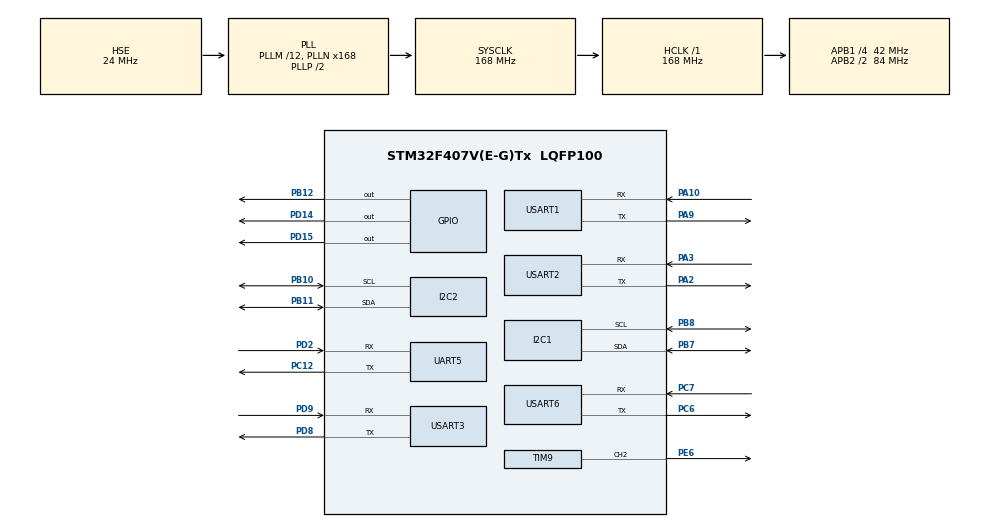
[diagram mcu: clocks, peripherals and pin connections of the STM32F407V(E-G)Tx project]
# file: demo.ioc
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Dma.MEMTOMEM.2.Direction=DMA_MEMORY_TO_MEMORY
Dma.MEMTOMEM.2.FIFOMode=DMA_FIFOMODE_ENABLE
Dma.MEMTOMEM.2.FIFOThreshold=DMA_FIFO_THRESHOLD_FULL
Dma.MEMTOMEM.2.Instance=DMA2_Stream1
Dma.MEMTOMEM.2.MemBurst=DMA_MBURST_SINGLE
Dma.MEMTOMEM.2.MemDataAlignment=DMA_MDATAALIGN_BYTE
Dma.MEMTOMEM.2.MemInc=DMA_MINC_ENABLE
Dma.MEMTOMEM.2.Mode=DMA_NORMAL
Dma.MEMTOMEM.2.PeriphBurst=DMA_PBURST_SINGLE
Dma.MEMTOMEM.2.PeriphDataAlignment=DMA_PDATAALIGN_BYTE
Dma.MEMTOMEM.2.PeriphInc=DMA_PINC_ENABLE
Dma.MEMTOMEM.2.Priority=DMA_PRIORITY_LOW
Dma.Request0=USART1_RX
Dma.Request1=USART1_TX
Dma.Request2=MEMTOMEM
Dma.Request3=USART3_TX
Dma.Request4=USART2_TX
Dma.USART1_RX.0.Direction=DMA_PERIPH_TO_MEMORY
Dma.USART1_RX.0.FIFOMode=DMA_FIFOMODE_DISABLE
Dma.USART1_RX.0.Instance=DMA2_Stream2
Dma.USART1_RX.0.MemDataAlignment=DMA_MDATAALIGN_BYTE
Dma.USART1_RX.0.MemInc=DMA_MINC_ENABLE
Dma.USART1_RX.0.Mode=DMA_CIRCULAR
Dma.USART1_RX.0.PeriphDataAlignment=DMA_PDATAALIGN_BYTE
Dma.USART1_RX.0.PeriphInc=DMA_PINC_DISABLE
Dma.USART1_RX.0.Priority=DMA_PRIORITY_HIGH
Dma.USART1_TX.1.Direction=DMA_MEMORY_TO_PERIPH
Dma.USART1_TX.1.FIFOMode=DMA_FIFOMODE_DISABLE
Dma.USART1_TX.1.Instance=DMA2_Stream7
Dma.USART1_TX.1.MemDataAlignment=DMA_MDATAALIGN_BYTE
Dma.USART1_TX.1.MemInc=DMA_MINC_ENABLE
Dma.USART1_TX.1.Mode=DMA_NORMAL
Dma.USART1_TX.1.PeriphDataAlignment=DMA_PDATAALIGN_BYTE
Dma.USART1_TX.1.PeriphInc=DMA_PINC_DISABLE
Dma.USART1_TX.1.Priority=DMA_PRIORITY_VERY_HIGH
Dma.USART2_TX.4.Direction=DMA_MEMORY_TO_PERIPH
Dma.USART2_TX.4.FIFOMode=DMA_FIFOMODE_DISABLE
Dma.USART2_TX.4.Instance=DMA1_Stream6
Dma.USART2_TX.4.MemDataAlignment=DMA_MDATAALIGN_BYTE
Dma.USART2_TX.4.MemInc=DMA_MINC_ENABLE
Dma.USART2_TX.4.Mode=DMA_NORMAL
Dma.USART2_TX.4.PeriphDataAlignment=DMA_PDATAALIGN_BYTE
Dma.USART2_TX.4.PeriphInc=DMA_PINC_DISABLE
Dma.USART2_TX.4.Priority=DMA_PRIORITY_LOW
Dma.USART3_TX.3.Direction=DMA_MEMORY_TO_PERIPH
Dma.USART3_TX.3.FIFOMode=DMA_FIFOMODE_DISABLE
Dma.USART3_TX.3.Instance=DMA1_Stream3
Dma.USART3_TX.3.MemDataAlignment=DMA_MDATAALIGN_BYTE
Dma.USART3_TX.3.MemInc=DMA_MINC_ENABLE
Dma.USART3_TX.3.Mode=DMA_NORMAL
Dma.USART3_TX.3.PeriphDataAlignment=DMA_PDATAALIGN_BYTE
Dma.USART3_TX.3.PeriphInc=DMA_PINC_DISABLE
Dma.USART3_TX.3.Priority=DMA_PRIORITY_LOW
Mcu.Family=STM32F4
Mcu.Name=STM32F407V(E-G)Tx
Mcu.Package=LQFP100
NVIC.DMA1_Stream3_IRQn=true\:0\:0\:false\:false\:true\:false\:true\:true
NVIC.DMA1_Stream6_IRQn=true\:0\:0\:false\:false\:true\:false\:true\:true
NVIC.DMA2_Stream2_IRQn=true\:0\:0\:false\:false\:true\:false\:true\:true
NVIC.DMA2_Stream7_IRQn=true\:0\:0\:false\:false\:true\:false\:true\:true
NVIC.PriorityGroup=NVIC_PRIORITYGROUP_4
NVIC.TIM2_IRQn=true\:1\:0\:true\:false\:true\:true\:true\:true
NVIC.USART1_IRQn=true\:0\:0\:false\:false\:true\:true\:true\:true
NVIC.USART2_IRQn=true\:0\:0\:false\:false\:true\:true\:true\:true
NVIC.USART3_IRQn=true\:0\:0\:false\:false\:true\:true\:true\:true
PA10.Mode=Asynchronous
PA10.Signal=USART1_RX
PA13.Mode=Serial_Wire
PA13.Signal=SYS_JTMS-SWDIO
PA14.Mode=Serial_Wire
PA14.Signal=SYS_JTCK-SWCLK
PA2.Mode=Asynchronous
PA2.Signal=USART2_TX
PA3.Mode=Asynchronous
PA3.Signal=USART2_RX
PA9.Mode=Asynchronous
PA9.Signal=USART1_TX
PB10.Mode=I2C
PB10.Signal=I2C2_SCL
PB11.Mode=I2C
PB11.Signal=I2C2_SDA
PB12.GPIO_ModeDefaultOutputPP=GPIO_MODE_OUTPUT_PP
PB12.GPIO_PuPd=GPIO_NOPULL
PB12.PinState=GPIO_PIN_RESET
PB12.Signal=GPIO_Output
PB7.Mode=I2C
PB7.Signal=I2C1_SDA
PB8.Mode=I2C
PB8.Signal=I2C1_SCL
PC12.Mode=Asynchronous
PC12.Signal=UART5_TX
PC6.Mode=Asynchronous
PC6.Signal=USART6_TX
PC7.Mode=Asynchronous
PC7.Signal=USART6_RX
PD14.GPIO_ModeDefaultOutputPP=GPIO_MODE_OUTPUT_PP
PD14.Signal=GPIO_Output
PD15.PinState=GPIO_PIN_SET
PD15.Signal=GPIO_Output
PD2.Mode=Asynchronous
PD2.Signal=UART5_RX
PD8.Mode=Asynchronous
PD8.Signal=USART3_TX
PD9.Mode=Asynchronous
PD9.Signal=USART3_RX
PE6.Signal=S_TIM9_CH2
PH0-OSC_IN.Mode=HSE-External-Oscillator
PH0-OSC_IN.Signal=RCC_OSC_IN
PH1-OSC_OUT.Mode=HSE-External-Oscillator
PH1-OSC_OUT.Signal=RCC_OSC_OUT
ProjectManager.HeapSize=0x200
ProjectManager.StackSize=0x400
ProjectManager.TargetToolchain=MDK-ARM V5.32
RCC.48MHZClocksFreq_Value=84000000
RCC.AHBFreq_Value=168000000
RCC.APB1CLKDivider=RCC_HCLK_DIV4
RCC.APB1Freq_Value=42000000
RCC.APB1TimFreq_Value=84000000
RCC.APB2CLKDivider=RCC_HCLK_DIV2
RCC.APB2Freq_Value=84000000
RCC.APB2TimFreq_Value=168000000
RCC.CortexFreq_Value=168000000
RCC.HCLKFreq_Value=168000000
RCC.HSE_VALUE=24000000
RCC.HSI_VALUE=16000000
RCC.LSE_VALUE=32768
RCC.PLLM=12
RCC.PLLN=168
RCC.PLLSourceVirtual=RCC_PLLSOURCE_HSE
RCC.SYSCLKFreq_VALUE=168000000
RCC.SYSCLKSource=RCC_SYSCLKSOURCE_PLLCLK
RCC.VCOOutputFreq_Value=336000000
SH.S_TIM9_CH2.0=TIM9_CH2,PWM Generation2 CH2
TIM2.AutoReloadPreload=TIM_AUTORELOAD_PRELOAD_ENABLE
TIM2.Period=1000-1
TIM2.Prescaler=84-1
TIM9.Channel-PWM\ Generation2\ CH2=TIM_CHANNEL_2
TIM9.Period=20000-1
TIM9.Prescaler=168-1
UART5.VirtualMode=Asynchronous
USART1.VirtualMode=VM_ASYNC
USART2.VirtualMode=VM_ASYNC
USART3.VirtualMode=VM_ASYNC
USART6.VirtualMode=VM_ASYNC
VP_TIM2_VS_ClockSourceINT.Mode=Internal
board=custom

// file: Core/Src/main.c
/* USER CODE BEGIN Header */
/**
 ******************************************************************************
 * @file           : main.c
 * @brief          : Main program body
 ******************************************************************************
 * @attention
 *
 * Copyright (c) 2026 STMicroelectronics.
 * All rights reserved.
 *
 * This software is licensed under terms that can be found in the LICENSE file
 * in the root directory of this software component.
 * If no LICENSE file comes with this software, it is provided AS-IS.
 *
 ******************************************************************************
 */
#define USART2_MAX_SEND_LEN 400

/* USER CODE END Header */
#include "main.h"
#include "dma.h"
#include "i2c.h"
#include "tim.h"
#include "usart.h"
#include "gpio.h"

/* USER CODE BEGIN Includes */
#include "Chassis.h"
#include "icm42688.h"
#include "kalman.h"
#include "Emm_V5.h"
#include "Servo_motor.h"
#include "MPU9250.h"
#include "all_init.h"
#include "ZDTstepmotor.h"
#include "control.h"
#include "gray.h"
#include "usart_sent.h"
#include "task.h"
#include <stdio.h>
#include <stdarg.h>
#include <string.h>
#include <stdlib.h>

/* USER CODE END Includes */

/* USER CODE BEGIN PD */
#define TASK1_TRACK_TIME_MS 20000U /* 任务1循迹时长上限 */
#define K210_WAIT_QR_MS 15000U     /* 等K210二维码结果超时 */
#define K210_WAIT_CROSS_MS 18000U  /* 等K210十字对准超时 */
#define K210_STRAFE_LINE_MS 18000U /* 向左找黑线超时 */
/* (对十字/对圆心已去掉超时，改为一直等上位机完毕帧) */

#define TASK2_SERVO_UP_ANGLE 80U

/* USER CODE END PD */

/* USER CODE BEGIN PV */
/* state31 收物块舵机状态（TIM2 中断用；进入 state31 生成 plan2 时复位） */
static uint16_t t2_servo_count = 0U;
static uint8_t t2_servo_index = 0U;
static uint8_t t2_servo_first_sent = 0U;

#ifdef start_from_home
uint8_t overall_task_state = 1;

uint8_t QR_scanning_state = 11;
uint8_t task1_state = 0;
uint8_t task2_state = 0;
uint8_t qr_task1_number = 0;
uint8_t qr_task2_number = 0;

uint8_t home_flag = 0;
uint8_t gray_flag = 0;

float cmd_x, cmd_y, cmd_yaw; /* 上位机命令: 需要纠正的 x/y/yaw */

uint8_t task1_point_index = 0;
uint8_t task2_point_index = 0;

uint8_t slot_colors[5];        /* 颜色识别结果: 槽1~5(左->右)的颜色编号 0=黑 1=白 2=红 3=绿 4=蓝 */
uint8_t plan1[5];              /* 任务1抓取方案: plan1[i] = 第 i 步去几号槽抓(1~5) */
uint8_t plan2[3];              /* 任务2抓取方案: plan2[i] = 第 i 步去几号槽抓(1~3) */
char task2_abc_order[4] = {0}; /* 任务2现场奖杯摆放(右->左)，如 "CBA"；需上位机/视觉填入或人工标定 */

/* 任务2 槽位/领奖台坐标(体坐标, m)——按场地标定后填写 */

uint8_t task1_color_started = 0U; /* 循迹阶段是否已请求颜色识别 */
uint8_t task1_plan_ready = 0U;    /* plan1 是否已生成 */
uint8_t task2_plan_ready = 0U;    /* plan2 是否已生成 */
uint8_t task2_track_stop = 0U;    /* 1=任务2循迹超时，停止循迹便于排查 */
#endif

#ifdef start_from_task1
uint8_t overall_task_state = 2;

uint8_t QR_scanning_state = 11;
uint8_t task1_state = 21;
uint8_t task2_state = 0;
uint8_t qr_task1_number = 1;
uint8_t qr_task2_number = 2;

uint8_t home_flag = 0;
uint8_t gray_flag = 0;

float cmd_x, cmd_y, cmd_yaw; /* 上位机命令: 需要纠正的 x/y/yaw */

uint8_t task1_point_index = 0;
uint8_t task2_point_index = 0;

uint8_t slot_colors[5];        /* 颜色识别结果: 槽1~5(左->右)的颜色编号 0=黑 1=白 2=红 3=绿 4=蓝 */
uint8_t plan1[5];              /* 任务1抓取方案: plan1[i] = 第 i 步去几号槽抓(1~5) */
uint8_t plan2[3];              /* 任务2抓取方案: plan2[i] = 第 i 步去几号槽抓(1~3) */
char task2_abc_order[4] = {0}; /* 任务2现场奖杯摆放(右->左)，如 "CBA"；需上位机/视觉填入或人工标定 */

/* 任务2 槽位/领奖台坐标(体坐标, m)——按场地标定后填写 */

uint8_t task1_color_started = 0U; /* 循迹阶段是否已请求颜色识别 */
uint8_t task1_plan_ready = 0U;    /* plan1 是否已生成 */
uint8_t task2_plan_ready = 0U;    /* plan2 是否已生成 */
uint8_t task2_track_stop = 0U;    /* 1=任务2循迹超时，停止循迹便于排查 */
#endif

#ifdef start_from_task2
uint8_t overall_task_state = 3;

uint8_t QR_scanning_state = 11;
uint8_t task1_state = 0;
uint8_t task2_state = 31;
uint8_t qr_task1_number = 1;
uint8_t qr_task2_number = 4;

uint8_t home_flag = 0;
uint8_t gray_flag = 0;

float cmd_x, cmd_y, cmd_yaw; /* 上位机命令: 需要纠正的 x/y/yaw */

uint8_t task1_point_index = 0;
uint8_t task2_point_index = 0;

uint8_t slot_colors[5];        /* 颜色识别结果: 槽1~5(左->右)的颜色编号 0=黑 1=白 2=红 3=绿 4=蓝 */
uint8_t plan1[5];              /* 任务1抓取方案: plan1[i] = 第 i 步去几号槽抓(1~5) */
uint8_t plan2[3];              /* 任务2抓取方案: plan2[i] = 第 i 步去几号槽抓(1~3) */
char task2_abc_order[4] = {0}; /* 任务2现场奖杯摆放(右->左)，如 "CBA"；需上位机/视觉填入或人工标定 */

/* 任务2 槽位/领奖台坐标(体坐标, m)——按场地标定后填写 */

uint8_t task1_color_started = 0U; /* 循迹阶段是否已请求颜色识别 */
uint8_t task1_plan_ready = 0U;    /* plan1 是否已生成 */
uint8_t task2_plan_ready = 0U;    /* plan2 是否已生成 */
uint8_t task2_track_stop = 0U;    /* 1=任务2循迹超时，停止循迹便于排查 */
#endif

#ifdef debug_in_round
uint8_t overall_task_state = 2;

uint8_t QR_scanning_state = 11;
uint8_t task1_state = 22;
uint8_t task2_state = 0;
uint8_t qr_task1_number = 1;
uint8_t qr_task2_number = 4;

uint8_t home_flag = 0;
uint8_t gray_flag = 0;

float cmd_x, cmd_y, cmd_yaw; /* 上位机命令: 需要纠正的 x/y/yaw */

uint8_t task1_point_index = 0;
uint8_t task2_point_index = 0;

uint8_t slot_colors[5]; /* 颜色识别结果: 槽1~5(左->右)的颜色编号 0=黑 1=白 2=红 3=绿 4=蓝 */
uint8_t plan1[5] = {
    1, 5, 2, 4, 3}; /* 任务1抓取方案: plan1[i] = 第 i 步去几号槽抓(1~5) */
uint8_t plan2[3];              /* 任务2抓取方案: plan2[i] = 第 i 步去几号槽抓(1~3) */
char task2_abc_order[4] = {0}; /* 任务2现场奖杯摆放(右->左)，如 "CBA"；需上位机/视觉填入或人工标定 */

/* 任务2 槽位/领奖台坐标(体坐标, m)——按场地标定后填写 */

uint8_t task1_color_started = 1U; /* 循迹阶段是否已请求颜色识别 */
uint8_t task1_plan_ready = 1U;    /* plan1 是否已生成 */
uint8_t task2_plan_ready = 0U;    /* plan2 是否已生成 */
uint8_t task2_track_stop = 0U;    /* 1=任务2循迹超时，停止循迹便于排查 */
#endif

#ifdef debug_in_color
uint8_t overall_task_state = 2;

uint8_t QR_scanning_state = 11;
uint8_t task1_state = 21;
uint8_t task2_state = 0;
uint8_t qr_task1_number = 1;
uint8_t qr_task2_number = 4;

uint8_t home_flag = 0;
uint8_t gray_flag = 0;

float cmd_x, cmd_y, cmd_yaw; /* 上位机命令: 需要纠正的 x/y/yaw */

uint8_t task1_point_index = 0;
uint8_t task2_point_index = 0;

uint8_t slot_colors[5]; /* 颜色识别结果: 槽1~5(左->右)的颜色编号 0=黑 1=白 2=红 3=绿 4=蓝 */
uint8_t plan1[5] = {
    1, 5, 2, 4, 3}; /* 任务1抓取方案: plan1[i] = 第 i 步去几号槽抓(1~5) */
uint8_t plan2[3];              /* 任务2抓取方案: plan2[i] = 第 i 步去几号槽抓(1~3) */
char task2_abc_order[4] = {0}; /* 任务2现场奖杯摆放(右->左)，如 "CBA"；需上位机/视觉填入或人工标定 */

/* 任务2 槽位/领奖台坐标(体坐标, m)——按场地标定后填写 */

uint8_t task1_color_started = 0U; /* 循迹阶段是否已请求颜色识别 */
uint8_t task1_plan_ready = 1U;    /* plan1 是否已生成 */
uint8_t task2_plan_ready = 0U;    /* plan2 是否已生成 */
uint8_t task2_track_stop = 0U;    /* 1=任务2循迹超时，停止循迹便于排查 */
#endif

/* USER CODE END PV */

void SystemClock_Config(void);

/* USER CODE BEGIN 0 */
int fputc(int ch, FILE *stream)
{
  uint8_t c = ch;
  HAL_UART_Transmit(&huart2, &c, 1, 0xFFFF);
  return ch;
}

/* 二维码请求轮询：没收到就每隔固定时间重发一次 AA 05 0A，总时长不超过 timeout_ms。
 * 收到返回 1，超时返回 0（调用方用默认值兜底）。 */
static uint8_t WaitQRReady(uint32_t timeout_ms)
{
  uint32_t start = HAL_GetTick();

  while ((int32_t)(HAL_GetTick() - start) < (int32_t)timeout_ms)
  {
    QR_SendRequest();
    HAL_Delay(100U);
    if (QR_IsReady() != 0U)
    {
      return 1U;
    }
  }

  return QR_IsReady();
}

/* 补充缺失槽位颜色：用红绿蓝黑白(0~4)里还没出现的颜色补上缺失槽位；
 * 4缺1时，缺失槽位正好补上唯一没出现的颜色。 */
static void Task1_FillSlotColors(uint8_t colors[5])
{
  uint8_t used = 0U;  /* 位图: bit c = 颜色 c 已出现 */
  uint8_t missing[5]; /* 还没出现的颜色(待补) */
  uint8_t n_missing = 0U;
  uint8_t fill = 0U;
  uint8_t i;
  uint8_t c;

  for (i = 0U; i < 5U; i++)
  {
    c = colors[i];
    if (c < 5U)
    {
      used |= (uint8_t)(1U << c);
    }
  }
  for (c = 0U; c < 5U; c++)
  {
    if ((used & (uint8_t)(1U << c)) == 0U)
    {
      missing[n_missing++] = c;
    }
  }
  for (i = 0U; i < 5U; i++)
  {
    if (colors[i] >= 5U)
    {
      if (fill < n_missing)
      {
        colors[i] = missing[fill++];
      }
      else
      {
        colors[i] = 0U; /* 兜底：黑 */
      }
    }
  }
}

/* 生成任务1方案：QR 未识别默认 3；颜色缺失自动补齐；保证 plan1 一定生成 */
static void Task1_BuildPlan1(void)
{
  if ((qr_task1_number < 1U) || (qr_task1_number > 16U))
  {
    uart_printf("qr_task1 invalid %u, use default 3\r\n", qr_task1_number);
    qr_task1_number = 3U;
  }
  // Task1_FillSlotColors(slot_colors);
  if (Task1_QRPlanBySlotColors(qr_task1_number, slot_colors, plan1) == TASK_PLAN_OK)
  {
    task1_plan_ready = 1U;
    uart_printf("plan1 ready: slot%u->slot%u->slot%u->slot%u->slot%u\r\n",
                plan1[0], plan1[1], plan1[2], plan1[3], plan1[4]);
  }
  else
  {
    /* 兜底默认方案：按槽位顺序 1->2->3->4->5 */
    plan1[0] = 1U;
    plan1[1] = 2U;
    plan1[2] = 3U;
    plan1[3] = 4U;
    plan1[4] = 5U;
    task1_plan_ready = 1U;
    uart_printf("plan1 use default: 1->2->3->4->5\r\n");
  }
}

/* USER CODE END 0 */

int main(void)
{

  /* MCU Configuration--------------------------------------------------------*/

  /* Reset of all peripherals, Initializes the Flash interface and the Systick. */
  HAL_Init();

  /* Configure the system clock */
  SystemClock_Config();

  /* Initialize all configured peripherals */
  MX_GPIO_Init();
  MX_DMA_Init();
  MX_USART1_UART_Init();
  MX_I2C1_Init();
  MX_I2C2_Init();
  MX_TIM2_Init();
  MX_TIM9_Init();
  MX_USART6_UART_Init();
  MX_USART2_UART_Init();
  MX_UART5_Init();
  MX_USART3_UART_Init();
  /* USER CODE BEGIN 2 */

  /* 串口2开机自检：阻塞发送固定字符串（串口助手 115200 应看到 "UART2 OK"）
   * 看到 -> TX 通路/接线/波特率正常，问题在后面；没看到 -> 查接线/COM口/固件。
   * 排查完删掉这段即可。 */
  {
    static const uint8_t boot_msg[] = "UART2 OK\r\n";
    (void)HAL_UART_Transmit(&huart2, (uint8_t *)boot_msg, sizeof(boot_msg) - 1U, 200U);
  }

  icm_init();

  // HAL_GPIO_TogglePin(DEBUG_LED_PORT, DEBUG_LED_PIN);

  // HAL_Delay(2000);
  // HAL_GPIO_TogglePin(DEBUG_LED_PORT, DEBUG_LED_PIN);

  Chassis_Init(&huart1);
  Gray_Init();

  Usart6_RxInit(); /* 串口6接收中断：上位机(K230)命令帧（x/y/yaw + 完毕帧 + 二维码/颜色/字母） */

  // printf("System start\r\n");
  HAL_TIM_Base_Start_IT(&htim2);
  // ServoBus_Test();
  Servo_Init();
  // Chassis_Test();

  // Control_test();
  /* USER CODE END 2 */

  /* Infinite loop */
  while (1)
  {

    /* USER CODE BEGIN 3 */

    switch (overall_task_state)
    {
    case 1: // 二维码识别阶段
      switch (QR_scanning_state)
      {
      case 11: // 开环移动到任务2二维码扫描位置，并扫描任务2二维码（两个二维码一起识别）
        Chassis_MovePosBlocking(-0.25f, 0.0f, 0.0f);
        HAL_Delay(500);
        Chassis_MovePosBlocking_Set_V(0.0f, -0.70f, 0.0f, 0.3f);
        HAL_Delay(500);

        /* 1) 通过串口6向上位机(K230)请求任务2二维码（编号1~6）；未识别到默认 5 */
        QR_Reset();
        qr_task2_number = (WaitQRReady(K210_WAIT_QR_MS) != 0U) ? QR_GetNumber() : 5U;
        if ((qr_task2_number < 1U) || (qr_task2_number > 6U))
        {
          uart_printf("QR2 invalid %u, use default 5\r\n", qr_task2_number);
          qr_task2_number = 5U;
        }
        uart_printf("QR2 == %u\r\n", qr_task2_number);

        QR_scanning_state = 12;
        break;

      case 12: // 开环移动到任务1二维码扫描位置，并扫描任务1二维码
        Chassis_MovePosBlocking_Set_V(0.0f, 1.3f, 0.0f, 0.3f);
        HAL_Delay(500);

        /* 1) 通过串口6向上位机(K230)请求任务1二维码（编号1~16）；未识别到默认 3 */
        QR_Reset();
        qr_task1_number = (WaitQRReady(K210_WAIT_QR_MS) != 0U) ? QR_GetNumber() : 3U;
        if ((qr_task1_number < 1U) || (qr_task1_number > 16U))
        {
          uart_printf("QR1 invalid %u, use default 3\r\n", qr_task1_number);
          qr_task1_number = 3U;
        }
        uart_printf("QR1 == %u\r\n", qr_task1_number);
        // Chassis_MovePosBlocking(0.0f, -0.1f, 0.0f);
        /* 2) 再向左移动到灰度中间两个(3,4)同时检测到黑线停止 */
        Chassis_StrafeLeftUntilLine(0.20f, K210_STRAFE_LINE_MS);
        Chassis_MovePosBlocking(0.04f, 0.0f, 0.0f);
        Control_StaticTurn(-8.0f, 5000U);
        Servo_SetAngle(SERVO_TASK1_ANGLE);
        HAL_Delay(1000);
        /* 3) 同时向K210发送消息，提示任务一开始 */
        K210_Send("GO\n");

        /* 4) 进入任务1: 颜色物块在循迹阶段(状态2/state21)识别，这里只做初始化 */
        task1_point_index = 0U;
        task1_color_started = 0U;
        task1_plan_ready = 0U;
        overall_task_state = 2;
        task1_state = 21;
        break;

      default:
        break;
      }
      break;

    case 2: // 任务1阶段
      switch (task1_state)
      {
      case 21: // 循迹捡物块阶段：循迹在 TIM2 中断里跑；主循环在这里收颜色、转舵机、生成方案
      {
        uint8_t i;
        uint8_t ci;

        /* 首次进入：清缓存，并发送首次颜色识别请求（请求第1个槽位颜色） */
        if (task1_color_started == 0U)
        {
          task1_color_started = 1U;
          Color_Reset();
          Color_SendRequest(); /* AA 03 0A */
        }

        /* 每识别到一个新颜色，就在串口2打印一次（0=黑 1=白 2=红 3=绿 4=蓝） */
        if (Color_TakeNew() != 0U)
        {
          ci = (uint8_t)(Color_GetCount() - 1U);
          uart_printf("color[%u]: %u\r\n", (unsigned)ci, Color_GetColor(ci));
        }

        /* 每 COLOR_REQ_INTERVAL_MS 请求一次颜色，直到收满5个不同颜色 */
        Color_Process();

        /* 收满5个不同颜色(重复自动丢弃) -> 生成任务1搬运方案 plan1[]
         * QR未识别默认3、颜色缺失自动补齐，plan1 一定生成，不阻塞状态机 */
        if ((task1_plan_ready == 0U) && (Color_IsDone() != 0U))
        {
          for (i = 0U; i < 5U; i++)
          {
            slot_colors[i] = Color_GetColor(i);
          }
          Task1_BuildPlan1();
        }

        /* 循迹继续由 TIM2 中断驱动；plan1 就绪且循迹计数到 250 后中断里切到 state 22 */
      }
      break;

      case 22: // 捡完物块，依次按方案 plan1 走5个槽位（每点: 固定距离移动 + 对十字/对圆心）
      {
        uint8_t slot; /* 本步要去的槽位 1~5（由方案 plan1 决定） */

#ifndef debug_in_round
        /* 保底：plan1 未生成(颜色没收齐/QR未识别)时用默认补齐方案，保证状态机推进 */
        if (task1_plan_ready == 0U)
        {
          Task1_BuildPlan1();
        }

        /* ① 移动到当前槽位：5个点定距离移动；*/
        if (task1_point_index == 5U)
        {
          Control_StaticTurn(90.0f, 5000U);

          Chassis_MovePosBlocking_Set_V(0.20f, 0.0f, 0.0f, 0.5f);
          Chassis_MovePosBlocking_Set_V(0.0f, 0.9f, 0.0f, 0.6f);
          Chassis_MovePosBlocking_Set_V(-0.1f, 0.0f, 0.0f, 0.5f);
          task1_state = 23;
          Chassis_stop();
          break;
        }
        else
        {
          slot = plan1[task1_point_index]; /* 本步要去的槽位 1~5 */
          Control_StaticTurn(90.0f, 5000U);
          HAL_Delay(100);                            // 每次启动前都旋转到固定角度
          if(task1_point_index == 0U || task1_point_index == 1U || task1_point_index ==4U)
          {
            ServoBus_SetAngle(Servo_angle[slot - 1U]); /* 舵机转到指定位置 */
          }
          else
          {
            if (plan1[task1_point_index] - plan1[task1_point_index - 1] > 3)
            {
              ServoBus_SetAngle((uint16_t)(Servo_angle[(plan1[task1_point_index - 1] - 1)] + 108U));
              HAL_Delay(200);
            }
            else if (plan1[task1_point_index] - plan1[task1_point_index - 1] < -3)
            {
              ServoBus_SetAngle((uint16_t)(Servo_angle[(plan1[task1_point_index - 1] - 1)] - 108U));
              HAL_Delay(2000);

            }
            else if (plan1[task1_point_index] - plan1[task1_point_index - 1] > 0)
            {
              ServoBus_SetAngle((uint16_t)(Servo_angle[(plan1[task1_point_index - 1] - 1)] + 36U));
              HAL_Delay(700);
            }
            else if (plan1[task1_point_index] - plan1[task1_point_index - 1] < 0)
            {
              ServoBus_SetAngle((uint16_t)(Servo_angle[(plan1[task1_point_index - 1] - 1)] - 36U));
              HAL_Delay(700);
            }
          }
          if(task1_point_index == 1U)
          {
            Chassis_MovePosBlocking(0.20f, 0.0f, 0.0f);
          }
          Chassis_MovePosBlocking(task1_move_distance_X_m[task1_point_index],
                                  task1_move_distance_Y_m[task1_point_index],
                                  0.0f);
        }

/* 方案保护：plan1 无效(未生成/越界)时停住排查 */
#endif
        /* ② 按 is_align[槽位] 决定本点动作 */
        if (task1_is_align[task1_point_index])
        {
          /* ---- 对十字（上位机回传 x/y/yaw） ---- */
          cross_flag = 1U;
          Cross_SendRequest(); /* AA 01 0A：请求回传 x/y/yaw */
          while (cross_flag)   /* 一直等上位机发完毕帧(AA 00 0A)才结束 */
          {
            if (Cross_GetCorrection(&cmd_x, &cmd_y, &cmd_yaw) != 0U)
            {
              uart_printf("x=%.1fcm y=%.1fcm yaw=%.1fdeg\r\n",
                          (double)cmd_x, (double)cmd_y, (double)cmd_yaw);
              Control_AlignTest(cmd_x, cmd_y, cmd_yaw);
              /* 阻塞式调整结束后，再向上位机请求下一次纠正 */
              Cross_SendRequest();
            }
            HAL_Delay(200);
          }
          Cross_SendDone();
          Control_CorrectYawDeg(-90.0f); /* 把当前 yaw 纠正为 -90° */

          /* ③ 对十字完成后的动作：后退 -> 舵机到固定位置 -> 延时 -> 后退 */
          Chassis_MovePosBlocking(0.0f, -0.22f, 0.0f); /* 后退 */
          Chassis_stop();
          ServoBus_SetAngle(Servo_angle[slot - 1U]); /* 舵机转到固定位置 */
          HAL_Delay(2000);
          Chassis_MovePosBlocking(0.0f, -0.10f, 0.0f); /* 后退 */
          ServoBus_SetAngle(Servo_angle[5]);           /* 锁住其他物块 */
          HAL_Delay(1000);
          Chassis_MovePosBlocking(-0.10f, 0.0f, 0.0f);

          Chassis_stop();
        }
        else
        {
#ifndef debug_in_round
          /* ---- 对圆心（上位机只回传 x/y，无 yaw） ---- */
          Control_StaticTurn(90.0f, 5000U);
#endif
#ifdef CIRCLE_ALIGN_SPEED_MODE
/* 速度控制模式：上位机定时下发 x/y 速度，收到完成帧立刻停车 */
#ifdef debug_in_round
          Circle_AlignBySpeed(0.1f, 0.0f);
#else
          Circle_AlignBySpeed(0.1f, 90.0f);
#endif
          /* 位置控制模式（原有逻辑）：上位机回传 x/y 位置偏差 */
#ifndef CIRCLE_ALIGN_SPEED_MODE

          circle_flag = 1U;
          Circle_SendRequest(); /* AA 02 0A：请求回传圆心 x/y */
          while (circle_flag)   /* 一直等上位机发完毕帧(AA 00 0A)才结束 */
          {
            if (Circle_GetCorrection(&cmd_x, &cmd_y) != 0U)
            {
              uart_printf("circle x=%.1fcm y=%.1fcm\r\n",
                          (double)cmd_x, (double)cmd_y);
              Control_AlignTest(cmd_x, cmd_y, 0.0f); /* 只平移 x/y，不纠 yaw */
              /* 阻塞式调整结束后，再向上位机请求下一次纠正 */
              Circle_SendRequest();
            }
            HAL_Delay(200);
          }
          Circle_SendDone(); /* 对圆心调整完毕 */
#endif
#ifndef debug_in_round
          if(task1_point_index == 2U || task1_point_index == 3U)
          {
          ServoBus_SetAngle(Servo_angle[slot - 1U]); /* 舵机转到指定位置 */
          HAL_Delay(1500);
          }

          Chassis_MovePosBlocking_Set_V(0.002f, 0.05f, 0.0f, 0.2f); /* 前进） */
          Chassis_stop();
          Chassis_MovePosBlocking(0.0f, -0.10f, 0.0f); /* 后退 */

          task1_point_index++;
#endif
        }
        break;
      }

      case 23: // 5个点全部走完 -> 进入任务2
        HAL_Delay(100);
        Servo_SetAngle(SERVO_TASK2_ANGLE);
        ServoBus_SetAngle(Servo_angle[6]);
        Control_StaticTurn(-160.0f, 5000U);
        HAL_Delay(100);
        Chassis_StrafeLeftUntilLine(-0.30f, K210_STRAFE_LINE_MS);
        Chassis_stop();

        overall_task_state = 3; /* 任务1完成 → 任务2 */
        task2_plan_ready = 0U;  /* 任务2计划复位，循迹阶段重新生成 */
        task2_track_stop = 0U;  /* 复位循迹超时停止标志 */
        task2_state = 31;
        break;

      default:
        break;
      }
      break;

    case 3: // 任务2阶段
      switch (task2_state)
      {
      case 31: // 任务2循迹阶段（循迹+收物块在 TIM2 中断里跑）
      {
        /* 任务2二维码已在初始扫描阶段提前识别，这里做校验 */
        if ((qr_task2_number < 1U) || (qr_task2_number > 6U))
        {
          uart_printf("QR2 invalid: %u\r\n", qr_task2_number);
          task2_track_stop = 1U;
          Chassis_stop();
          break;
        }

        /* 槽位固定：Servo_angle[0]=C(季军)  Servo_angle[1]=A(冠军)  Servo_angle[2]=B(亚军)
         * 放置顺序固定：亚军(B) → 冠军(A) → 季军(C)
         * plan2[i] = 第 i 步要去的槽位号(1~3) */
        if (task2_plan_ready == 0U)
        {
          plan2[0] = 3U; /* B 亚军：Servo_angle[2] = 槽3 */
          plan2[1] = 2U; /* A 冠军：Servo_angle[1] = 槽2 */
          plan2[2] = 1U; /* C 季军：Servo_angle[0] = 槽1 */
          task2_plan_ready = 1U;
          task2_point_index = 0U;
          /* 复位 state31 收物块舵机状态：进入 31 立即转第 1 个字母槽位 */
          t2_servo_count = 0U;
          t2_servo_index = 0U;
          t2_servo_first_sent = 0U;
          uart_printf("plan2 ready(B->A->C): %u->%u->%u\r\n",
                      plan2[0], plan2[1], plan2[2]);
        }

        /* 循迹+收物块由 TIM2 中断驱动；走到线尾后由中断处理 */
        break;
      }

      case 32: // 按 plan2 顺序搬运: 亚军(B) → 冠军(A) → 季军(C)
      {
        uint8_t slot; /* 本步去几号槽抓(1~3) */

        /* plan2 已在 31 循迹阶段由二维码生成；未就绪则停住排查 */
        if (task2_plan_ready == 0U)
        {
          uart_printf("plan2 not ready!\r\n");
          Chassis_stop();
          break;
        }

        /* 三块都放完 -> 回线返程（先判断，避免 plan2[3] 越界） */
        if (task2_point_index == 3U)
        {
          Servo_SetAngle(10U);
          Chassis_MovePosBlocking_Set_V(0.20f, 0.0f, 0.0f, 0.45f);
          Control_StaticTurn(20.0f, 5000U);
          Chassis_StrafeLeftUntilLine(-0.30f, K210_STRAFE_LINE_MS);
          Chassis_stop(); // 找到黑先后停下

          overall_task_state = 4;
          break;
        }

        /* 保护：本步槽位超出 1~3 则停住排查 */
        slot = plan2[task2_point_index];
        if ((slot < 1U) || (slot > 3U))
        {
          uart_printf("plan2[%u]=%u invalid!\r\n", task2_point_index, slot);
          Chassis_stop();
          break;
        }
        if (task2_point_index == 0U)
        {
          Control_StaticTurn(0.0f, 5000U);
          HAL_Delay(100);
          #ifndef TWO_IS_ROUND
          Chassis_MovePosBlocking_Set_V(0.0f, -0.05f, 0.0f, 0.2f);
          #else
          Chassis_MovePosBlocking_Set_V(0.0f, -0.11f, 0.0f, 0.2f);
          #endif
          Chassis_MovePosBlocking(task2_move_distance_X_m[task2_point_index],
                                  task2_move_distance_Y_m[task2_point_index],
                                  0.0f);
          Chassis_stop();

          Control_StaticTurn(0.0f, 5000U);
          #ifndef TWO_IS_ROUND
          Chassis_MovePosBlocking_Set_V(0.0f, 0.05f, 0.0f, 0.2f); /* 前进 */
          #endif
          Servo_SetAngle(88);//缓冲角度
          #ifdef TWO_IS_ROUND
          HAL_Delay(500);
          #endif

          ServoBus_SetAngle(Servo_angle[slot - 1U]); /* 舵机转到指定位置 */
          HAL_Delay(1000);

          Servo_SetAngle(TWO_ANGLE);
          HAL_Delay(500);

          #ifndef TWO_IS_ROUND
          Chassis_MovePosBlocking_Set_V(0.0f, -0.10f, 0.0f, 0.2f);
          #endif

          // #ifdef TWO_IS_ROUND
          // ServoBus_SetAngle(Servo_angle[slot - 1U]); /* 舵机转到指定位置 */
          // HAL_Delay(1000);
          // #endif /* 后退 */

          #ifndef TWO_IS_ROUND
          ServoBus_SetAngle(Servo_angle[6]);           /* 锁住其他物块 */
          HAL_Delay(1000);
          Chassis_stop();
          Servo_SetAngle(75);//稍高一点
          #endif
        }
        else if (task2_point_index == 1U)
        {
          Chassis_MovePosBlocking(0.35f, 0.0f, 0.0f);
          HAL_Delay(100);
          Control_StaticTurn(-90.0f, 5000U);
          HAL_Delay(100);
          Chassis_MovePosBlocking(task2_move_distance_X_m[task2_point_index],
                                  task2_move_distance_Y_m[task2_point_index],
                                  0.0f);
          Chassis_stop();
          Servo_SetAngle(83);
          Control_StaticTurn(-90.0f, 5000U);
          ServoBus_SetAngle(Servo_angle[slot - 1U]);  /* 舵机转到指定位置 */
          Chassis_MovePosBlocking_Set_V(0.0f, 0.04f, 0.0f, 0.15f); /* 前进 */
          HAL_Delay(1000);
          Servo_SetAngle(ONE_ANGLE);
          Chassis_MovePosBlocking_Set_V(0.0f, -0.10f, 0.0f, 0.2f); /* 后退 */
          ServoBus_SetAngle(Servo_angle[6]);           /* 锁住其他物块 */
          HAL_Delay(1500);
          Chassis_stop();
        }
        else
        {
          Control_StaticTurn(-90.0f, 5000U);
          Chassis_MovePosBlocking(task2_move_distance_X_m[task2_point_index],
                                  task2_move_distance_Y_m[task2_point_index],
                                  0.0f);
          Servo_SetAngle(98);
          HAL_Delay(500);
          ServoBus_SetAngle(Servo_angle[slot - 1U]);  /* 舵机转到指定位置 */
          HAL_Delay(500);
          Chassis_MovePosBlocking_Set_V(0.0f, 0.05f, 0.0f, 0.2f);

          Chassis_stop();
        }

        if (task2_is_align[task2_point_index] == 1)
        {
          /* ---- 对十字（上位机回传 x/y/yaw） ---- */
          cross_flag = 1U;
          Cross_SendRequest(); /* AA 01 0A：请求回传 x/y/yaw */
          while (cross_flag)   /* 一直等上位机发完毕帧(AA 00 0A)才结束 */
          {
            if (Cross_GetCorrection(&cmd_x, &cmd_y, &cmd_yaw) != 0U)
            {
              uart_printf("x=%.1fcm y=%.1fcm yaw=%.1fdeg\r\n",
                          (double)cmd_x, (double)cmd_y, (double)cmd_yaw);
              Control_AlignTest(cmd_x, cmd_y, cmd_yaw);
              /* 阻塞式调整结束后，再向上位机请求下一次纠正 */
              Cross_SendRequest();
            }
            HAL_Delay(200);
          }
          Cross_SendDone();              /* 调整完毕: 回传 ALIGN_DONE 给上位机确认 */
          Control_CorrectYawDeg(-90.0f); /* 把当前 yaw 纠正为 -90° */

          /* ③ 对十字完成后的动作：后退 -> 舵机到固定位置 -> 延时 -> 后退 */
          Chassis_MovePosBlocking(0.0f, -0.22f, 0.0f); /* 后退 */
          Chassis_stop();
          ServoBus_SetAngle(Servo_angle[slot - 1U]); /* 舵机转到固定位置 */

          HAL_Delay(1500);
          Servo_SetAngle(SERVO_TASK2_ANGLE);
          HAL_Delay(500);
          Chassis_MovePosBlocking(0.0f, -0.10f, 0.0f); /* 后退 */
          ServoBus_SetAngle(Servo_angle[6]);           /* 锁住其他物块 */
          HAL_Delay(1000);
          Chassis_MovePosBlocking(-0.10f, 0.0f, 0.0f);

          Chassis_stop();
        }
        else if (task2_is_align[task2_point_index] == 2)
        {
          /* ---- 对圆心（上位机只回传 x/y，无 yaw） ---- */
          if (task2_point_index == 0U)
          {
            Control_StaticTurn(0.0f, 5000U);
          }
          else
          {
            Control_StaticTurn(-90.0f, 5000U);
          }

#ifdef CIRCLE_ALIGN_SPEED_MODE
          /* 速度控制模式：上位机定时下发 x/y 速度，收到完成帧立刻停车 */
          /* 限幅，保持与上面 Control_StaticTurn 一致的航向 */
          Circle_AlignBySpeed(0.1f,
                              (task2_point_index == 0U) ? 0.0f : -90.0f);
#else
          /* 位置控制模式（原有逻辑）：上位机回传 x/y 位置偏差 */
          circle_flag = 1U;
          Circle_SendRequest(); /* AA 02 0A：请求回传圆心 x/y */
          while (circle_flag)   /* 一直等上位机发完毕帧(AA 00 0A)才结束 */
          {
            if (Circle_GetCorrection(&cmd_x, &cmd_y) != 0U)
            {
              uart_printf("circle x=%.1fcm y=%.1fcm\r\n",
                          (double)cmd_x, (double)cmd_y);
              Control_AlignTest(cmd_x, cmd_y, 0.0f); /* 只平移 x/y，不纠 yaw */
              /* 阻塞式调整结束后，再向上位机请求下一次纠正 */
              Circle_SendRequest();
            }
            HAL_Delay(200);
          }
          Circle_SendDone(); /* 对圆心调整完毕 */
#endif

          /* ③ 对圆心完成后的动作：前进 -> 舵机到指定位置 -> 再后退5cm */
          // Servo_SetAngle(98); /* 舵机转到指定位置 */

          if (task2_point_index == 0U)
          {
            Servo_SetAngle(90);
            HAL_Delay(1000);
            Chassis_MovePosBlocking_Set_V(0.0f, 0.05f, 0.0f, 0.2f); /* 前进 */
            Servo_SetAngle(TWO_ANGLE);
            HAL_Delay(1000);
          }
          else
          {
            Chassis_MovePosBlocking_Set_V(0.0f, 0.045f, 0.0f, 0.2f); /* 前进 */
          }
          Chassis_MovePosBlocking_Set_V(0.0f, -0.10f, 0.0f, 0.2f); /* 后退 */
          Chassis_stop();
          if (task2_point_index == 0U)
          {
            Servo_SetAngle(75);
          }
          HAL_Delay(500);

          // ServoBus_SetAngle(Servo_angle[5]);           /* 锁住其他物块 */
          // HAL_Delay(1000);
      Chassis_stop();
        }
        else
        {
          // skip
        }
        task2_point_index++;
        break;
      }
      default:
        break;
      }
      break;

    case 4: // 返程阶段
      /* 定位置移动回 HOME（数值按场地标定） */
      while (home_flag == 0)
      {

      }; // 未检测到标志位就堵塞
      Chassis_stop();
      HAL_Delay(100);

      Chassis_MovePosBlocking(-0.17f, 0.24f, 0.0f);
      Chassis_stop();
      overall_task_state = 0;
      task1_state = 0;
      task2_state = 0; /* 大成ohyes */
      break;

    default:
      break;
    }
#endif
  }
  /* USER CODE END 3 */
}

void SystemClock_Config(void)
{
  RCC_OscInitTypeDef RCC_OscInitStruct = {0};
  RCC_ClkInitTypeDef RCC_ClkInitStruct = {0};

  /** Configure the main internal regulator output voltage
   */
  __HAL_RCC_PWR_CLK_ENABLE();
  __HAL_PWR_VOLTAGESCALING_CONFIG(PWR_REGULATOR_VOLTAGE_SCALE1);

  /** Initializes the RCC Oscillators according to the specified parameters
   * in the RCC_OscInitTypeDef structure.
   */
  RCC_OscInitStruct.OscillatorType = RCC_OSCILLATORTYPE_HSE;
  RCC_OscInitStruct.HSEState = RCC_HSE_ON;
  RCC_OscInitStruct.PLL.PLLState = RCC_PLL_ON;
  RCC_OscInitStruct.PLL.PLLSource = RCC_PLLSOURCE_HSE;
  RCC_OscInitStruct.PLL.PLLM = 12;
  RCC_OscInitStruct.PLL.PLLN = 168;
  RCC_OscInitStruct.PLL.PLLP = RCC_PLLP_DIV2;
  RCC_OscInitStruct.PLL.PLLQ = 4;
  if (HAL_RCC_OscConfig(&RCC_OscInitStruct) != HAL_OK)
  {
    Error_Handler();
  }

  /** Initializes the CPU, AHB and APB buses clocks
   */
  RCC_ClkInitStruct.ClockType = RCC_CLOCKTYPE_HCLK | RCC_CLOCKTYPE_SYSCLK | RCC_CLOCKTYPE_PCLK1 | RCC_CLOCKTYPE_PCLK2;
  RCC_ClkInitStruct.SYSCLKSource = RCC_SYSCLKSOURCE_PLLCLK;
  RCC_ClkInitStruct.AHBCLKDivider = RCC_SYSCLK_DIV1;
  RCC_ClkInitStruct.APB1CLKDivider = RCC_HCLK_DIV4;
  RCC_ClkInitStruct.APB2CLKDivider = RCC_HCLK_DIV2;

  if (HAL_RCC_ClockConfig(&RCC_ClkInitStruct, FLASH_LATENCY_5) != HAL_OK)
  {
    Error_Handler();
  }
}

/* USER CODE BEGIN 4 */
void HAL_TIM_PeriodElapsedCallback(TIM_HandleTypeDef *htim)
{
  if (htim->Instance == htim2.Instance)
  {
    Chassis_Process();
    Servo_Process();

    static uint16_t count1 = 0;

    static uint16_t count3 = 0;
    static uint16_t count4 = 0;

    count1++;

    count3++;
    count4++;

    if (count1 >= 5)
    {
      ICM_getEulerianAngles();
      count1 = 0;
    }
    if (count3 >= GRAY_PID_PERIOD_MS)
    {
      if (overall_task_state == 2 && task1_state == 21)
      {
        static uint16_t t1_servo_count = 0; /* 自动拾取计数(每100个循迹周期转一次) */
        static uint8_t t1_servo_index = 1;  /* 当前已对准的槽位 0~4 */

        gray_flag = Grey_PID_Update();

        if ((track_sys.sensor_binary[0] == 0U) &&
            (track_sys.sensor_binary[1] == 0U) &&
            (track_sys.sensor_binary[2] == 0U))
        {
          Chassis_stop();
          Kalman_SetYawDeg(-179.2f);
/* 循迹到终点：推进状态机（plan1 未生成时由主循环/state22 用默认方案补齐） */
#ifndef debug_in_color
          task1_state = 22;
#endif
        }

        else
        {
          if (gray_flag == 0U)
          {
#ifndef debug_in_color
            Chassis_TrackDifferential(0.4f, Grey_Get_Output());
#endif
            t1_servo_count++;
#ifdef start_from_task1
            if (t1_servo_index == 1U)
            {
              if (t1_servo_count >= 170U)
              {
                t1_servo_count = 0U;
                ServoBus_SetAngle(Servo_angle[t1_servo_index]);
                t1_servo_index++;
              }
            }

            else
#endif
            if (t1_servo_count >= 64U && t1_servo_index < 6U)
            {
              t1_servo_count = 0U;
              ServoBus_SetAngle(Servo_angle[t1_servo_index]);
              t1_servo_index++;
            }
          }
          else
          {
            Chassis_stop(); /* 丢线时停止，防止冲出 */
          }
        }
      }

      if (overall_task_state == 3 && task2_state == 31 && task2_track_stop == 0U)
      {
        gray_flag = Grey_PID_Update();

        if ((track_sys.sensor_binary[5] == 0U) &&
            (track_sys.sensor_binary[6] == 0U) &&
            (track_sys.sensor_binary[7] == 0U))
        {
          Chassis_stop();
          Kalman_SetYawDeg(-2.0f);

          if (task2_plan_ready != 0U)
          {
            task2_state = 32;
          }
        }
        else
        {
          if (gray_flag == 0U)
          {
            static float task2_track_speed = 0.2f;
            Chassis_TrackDifferential(task2_track_speed, Grey_Get_Output());
            t2_servo_count++;
            if (t2_servo_index < 3U)
            {
              /* 第 t2_servo_index 次要接的字母 = task2_scheme[qr-1][t2_servo_index]
               * 固定槽位：A->Servo_angle[1]  B->Servo_angle[2]  C->Servo_angle[0]
               * 节奏：刚进入 state31 立即转第 1 个字母槽位，之后每 240 个循迹周期转下一个 */
              uint8_t letter;
              uint8_t angle_idx;

              if (t2_servo_first_sent == 0U)
              {
                /* 刚进入 31：立即转到第 1 个字母对应的槽位 */
                letter = Task2_GetSchemeTrophy(qr_task2_number, 0U);
                if (letter == 0U)
                  angle_idx = 1U; /* A -> Servo_angle[1] */
                else if (letter == 1U)
                  angle_idx = 2U; /* B -> Servo_angle[2] */
                else
                  angle_idx = 0U; /* C -> Servo_angle[0] */
                ServoBus_SetAngle(Servo_angle[angle_idx]);
                t2_servo_first_sent = 1U;
                t2_servo_index = 1U;
                t2_servo_count = 0U;
              }
              else if (t2_servo_count >= 120U)
              {
                letter = Task2_GetSchemeTrophy(qr_task2_number, t2_servo_index);
                if (letter == 0U)
                  angle_idx = 1U; /* A -> Servo_angle[1] */
                else if (letter == 1U)
                  angle_idx = 2U; /* B -> Servo_angle[2] */
                else
                  angle_idx = 0U; /* C -> Servo_angle[0] */
                t2_servo_index++;
                ServoBus_SetAngle(Servo_angle[angle_idx]);
                t2_servo_count = 0U;
              }
            }
            else if (t2_servo_index == 3U && t2_servo_count >= 160U)
            {
              t2_servo_index++;
              ServoBus_SetAngle(Servo_angle[6]); /* 锁住 */
              task2_track_speed = 0.25f;
            }
            else if (t2_servo_index == 4U && t2_servo_count >= 100U)
            {
              t2_servo_index++;
              Servo_SetAngle(TASK2_SERVO_UP_ANGLE); /* 举高 */
              t2_servo_count = 0U;
            }
          }
          else
          {
            Chassis_stop(); /* 丢线时停止，防止冲出 */
          }
        }
      }

      if ((overall_task_state == 4U) && (home_flag == 0))
      {
        gray_flag = Grey_PID_Update();

        if ((track_sys.sensor_binary[5] == 0U) &&
            (track_sys.sensor_binary[6] == 0U) &&
            (track_sys.sensor_binary[7] == 0U))
        {
          Chassis_stop();
          home_flag = 1;
        }
        if (gray_flag == 0U)
        {
          Chassis_TrackDifferential(0.7f, Grey_Get_Output());
        }
        else
        {
          Chassis_stop(); /* 丢线时停止，防止冲出 */
        }
      }

      count3 = 0;
    }

    if (count4 >= 1000)
    {
      // gray_show_digital();
      // uart_printf("Yaw: %.2f, Pitch: %.2f, Roll: %.2f\r\n",
      //   eulerAngle.yaw, eulerAngle.pitch, eulerAngle.roll);
      // uart_printf("%d, %d, %d\r\n",overall_task_state, task1_state, task2_state);

      count4 = 0;
    }
  }
}

// 任何一个串口发送完成就会调用此函数，发送完成回调函数
void HAL_UART_TxCpltCallback(UART_HandleTypeDef *huart)
{
  Emm_V5_TxCpltCallback(huart);
  Servo_TxCpltCallback(huart);
}

void HAL_UART_ErrorCallback(UART_HandleTypeDef *huart)
{
  /* TX DMA errors release the queued frame; USART1 has no RX path. */
  Emm_V5_UartErrorCallback(huart);
  Servo_UartErrorCallback(huart);
}

/* USER CODE END 4 */

void Error_Handler(void)
{
  __disable_irq();
  while (1)
  {
  }
}
